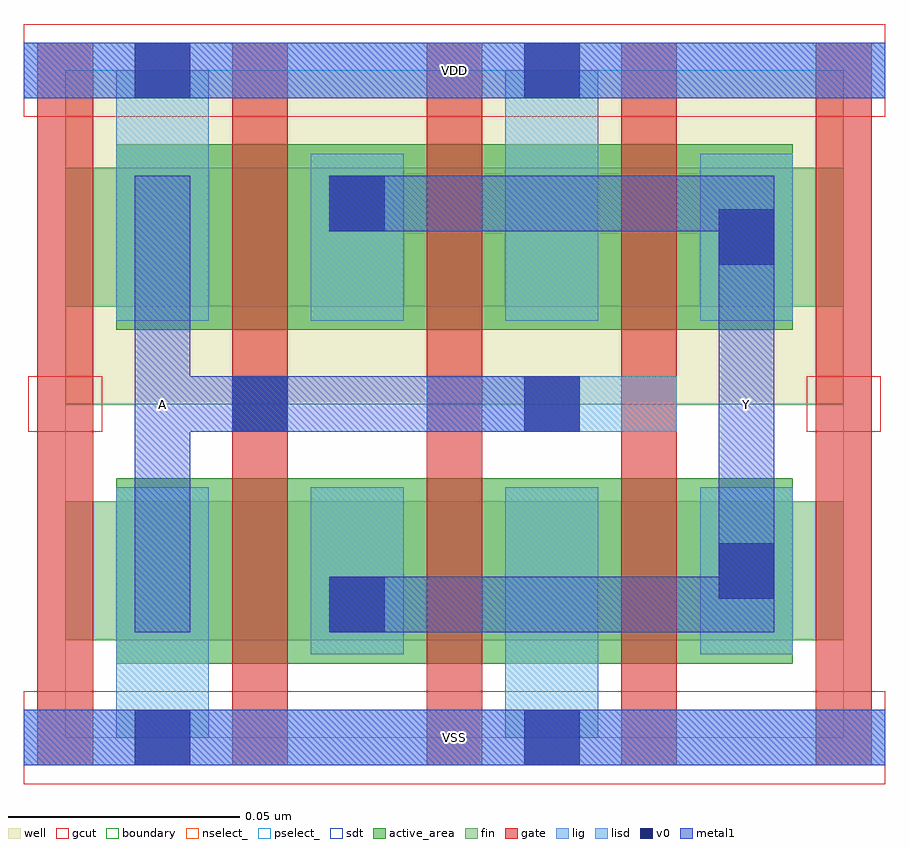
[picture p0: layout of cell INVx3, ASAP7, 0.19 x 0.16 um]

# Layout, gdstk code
import gdstk
lib = gdstk.Library(unit=1e-6, precision=2.5e-10)
def R(c, l, rs):  # rectangles x0, y0, x1, y1
    for r in rs: c.add(gdstk.rectangle(r[:2], r[2:], *l))
def A(c, l, x, y, w, h, nx, ny, dx, dy):  # array of equal rectangles
    R(c, l, [(x+i*dx, y+j*dy, x+i*dx+w, y+j*dy+h) for i in range(nx) for j in range(ny)])
def P(c, l, *ps):  # polygons
    for p in ps: c.add(gdstk.Polygon(p, *l))
well = (1, 0)
fin = (2, 0)
gate = (7, 0)
gcut = (10, 0)
active_area = (11, 0)
nselect_ = (12, 0)
pselect_ = (13, 0)
lig = (16, 0)
lisd = (17, 0)
v0 = (18, 0)
metal1 = (19, 0)
sdt = (88, 0)
boundary = (100, 0)

invx3 = lib.new_cell('INVx3')
R(invx3, well, [(0,0.072,0.168,0.144)])
R(invx3, fin, [(0,0.021,0.168,0.051), (0,0.093,0.168,0.123)])
A(invx3, gate, -0.006, -0.006, 0.012, 0.156, 5, 1, 0.042, 0)
R(invx3, gcut, [(-0.009,-0.01,0.177,0.01), (-0.008,0.066,0.008,0.078), (0.16,0.066,0.176,0.078), (-0.009,0.134,0.177,0.154)])
R(invx3, active_area, [(0.011,0.016,0.157,0.056), (0.011,0.088,0.157,0.128)])
R(invx3, nselect_, [(0,0,0.168,0.072)])
R(invx3, pselect_, [(0,0.072,0.168,0.144)])
R(invx3, lig, [(-0.009,-0.006,0.177,0.006), (0.036,0.066,0.048,0.078), (0.078,0.066,0.132,0.078), (-0.009,0.138,0.177,0.15)])
R(invx3, lisd, [(0.011,0,0.031,0.054), (0.095,0,0.115,0.054), (0.053,0.018,0.073,0.054), (0.137,0.018,0.157,0.054), (0.011,0.09,0.031,0.144), (0.053,0.09,0.073,0.126), (0.095,0.09,0.115,0.144), (0.137,0.09,0.157,0.126)])
A(invx3, v0, 0.099, -0.006, 0.012, 0.012, 1, 3, 0, 0.072)
R(invx3, v0, [(0.015,-0.006,0.027,0.006), (0.057,0.0227,0.069,0.0348), (0.141,0.03,0.153,0.042), (0.036,0.066,0.048,0.078), (0.141,0.102,0.153,0.114), (0.057,0.1092,0.069,0.1212), (0.015,0.138,0.027,0.15)])
R(invx3, metal1, [(-0.009,-0.006,0.177,0.006), (-0.009,0.138,0.177,0.15)])
P(invx3, metal1, [(0.015,0.0227),(0.027,0.0227),(0.027,0.066),(0.111,0.066),(0.111,0.078),(0.027,0.078),(0.027,0.1212),(0.015,0.1212)],
  [(0.057,0.1092),(0.141,0.1092),(0.141,0.0348),(0.057,0.0348),(0.057,0.0227),(0.153,0.0227),(0.153,0.1212),(0.057,0.1212)])
A(invx3, sdt, 0.011, 0.021, 0.02, 0.03, 4, 2, 0.042, 0.072)
R(invx3, boundary, [(0,0,0.168,0.144)])
invx3.add(gdstk.Label('Y', (0.147,0.072), layer=19, texttype=251))
invx3.add(gdstk.Label('A', (0.021,0.072), layer=19, texttype=251))
invx3.add(gdstk.Label('VSS', (0.084,0), layer=19, texttype=251))
invx3.add(gdstk.Label('VDD', (0.084,0.144), layer=19, texttype=251))

lib.write_gds('INVx3.gds')
